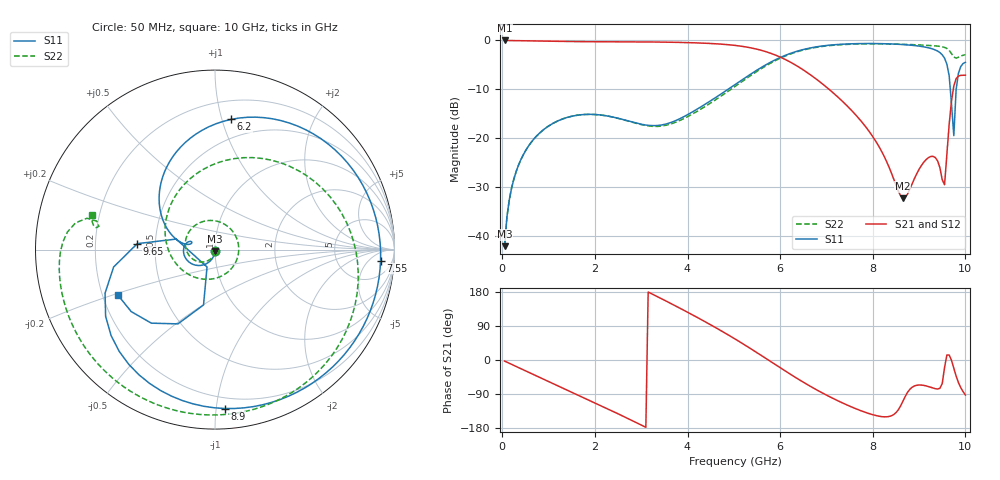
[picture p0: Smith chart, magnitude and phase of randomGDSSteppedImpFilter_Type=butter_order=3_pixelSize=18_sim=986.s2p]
! freq	dB(S11)	phase(S11)	dB(S12)	phase(S12)
!  dB(S21)	phase(S21)	dB(S22)	phase(S22)
!S-par simulation data
#  GHz  S  DB  R 50
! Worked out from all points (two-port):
!   200 points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, 50 MHz to 10 GHz, reference 50 ohm
!   highest |S21| = 0.00 dB at 50 MHz (marker M1); lowest = -32.2 dB at 8.65 GHz (marker M2)
!   |S21| within 3 dB of the highest: start of sweep to 5.901 GHz
!   lowest |S11| = -42.0 dB at 50 MHz (marker M3), VSWR 1.02, Z = 50 - j0.79 ohm
!   |S11| at or under -10 dB: start of sweep to 4.873 GHz; 9.674 GHz to 9.801 GHz (126.6 MHz wide, 1.3 % of centre)
!   |S22| runs from -42.0 to -0.7 dB; largest |S21 - S12| = 0
!   S11 on the Smith chart (normalised r, x): 50 MHz: 1.00, -0.02; 6.2 GHz: 0.34, +1.07; 7.55 GHz: 15, -13; 8.9 GHz: 0.13, -1.05; 9.65 GHz: 0.39, +0.03; 10 GHz: 0.26, -0.21
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0.05  -42.04 -92.1  -0.00 -2.9  -0.00 -2.9  -42.04 -92.8
0.2  -30.19 -99.7  -0.02 -11.5  -0.02 -11.5  -30.21 -102.9
0.5  -22.57 -115.0  -0.06 -28.5  -0.06 -28.5  -22.58 -123.0
1.15  -16.66 -145.6  -0.17 -65.2  -0.17 -65.2  -16.67 -166.2
1.75  -15.14 -171.0  -0.25 -99.0  -0.25 -99.0  -15.15 151.5
2.65  -16.27 163.4  -0.29 -150.8  -0.29 -150.8  -16.30 74.1
3.4  -17.33 165.3  -0.33 164.0  -0.33 164.0  -17.53 -17.5
4.3  -13.51 166.5  -0.54 106.4  -0.54 106.4  -13.96 -135.4
5.05  -8.87 146.6  -1.04 53.7  -1.04 53.7  -9.24 137.2
5.65  -5.21 117.7  -2.17 7.4  -2.17 7.4  -5.42 72.9
6.2  -2.72 82.9  -4.33 -36.0  -4.33 -36.0  -2.85 20.2
6.7  -1.45 49.5  -7.34 -72.8  -7.34 -72.8  -1.54 -21.0
7.55  -0.68 -3.8  -14.38 -124.3  -14.38 -124.3  -0.76 -76.5
8.35  -0.70 -50.9  -25.86 -149.1  -25.86 -149.1  -0.73 -118.5
8.65  -0.84 -69.5  -32.23 -109.1  -32.23 -109.1  -0.79 -133.3
8.9  -1.04 -86.6  -28.21 -68.4  -28.21 -68.4  -0.87 -145.7
9.3  -1.76 -121.3  -23.69 -73.9  -23.69 -73.9  -1.08 -166.7
9.55  -3.62 -158.4  -29.47 -19.9  -29.47 -19.9  -1.42 177.2
9.65  -7.24 175.6  -17.08 13.2  -17.08 13.2  -2.03 169.2
9.75  -19.45 -114.6  -9.30 -21.5  -9.30 -21.5  -3.38 166.5
9.85  -6.70 -116.5  -7.27 -59.6  -7.27 -59.6  -3.44 169.6
10  -4.47 -155.0  -7.10 -92.4  -7.10 -92.4  -2.92 164.3
